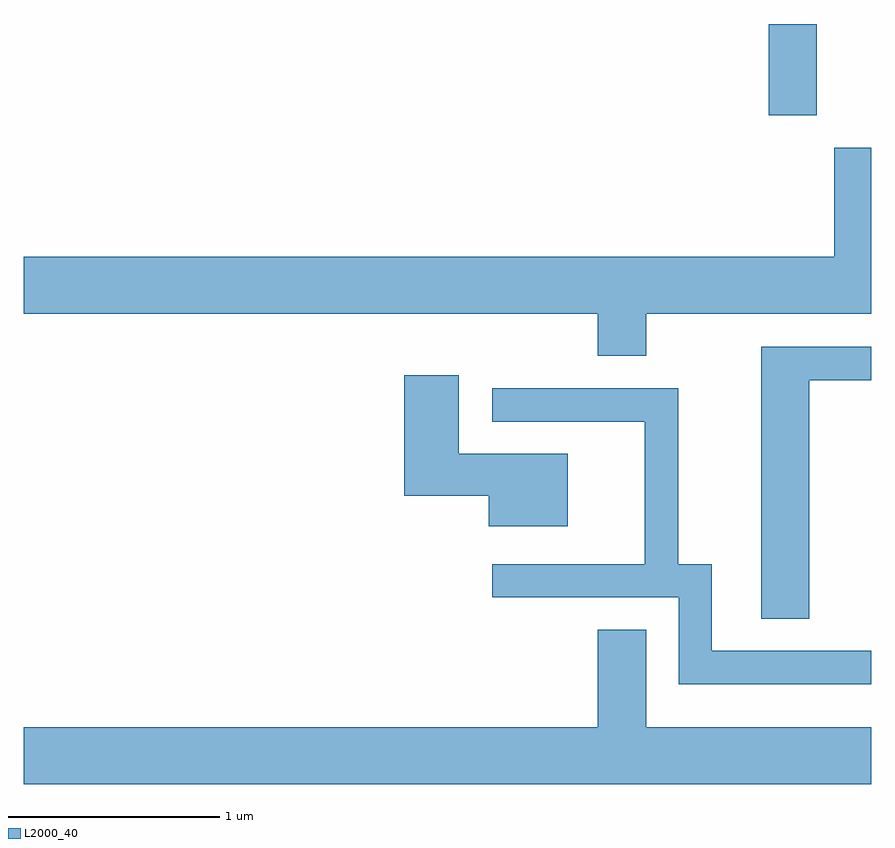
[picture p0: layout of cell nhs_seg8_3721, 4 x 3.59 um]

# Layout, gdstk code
import gdstk
lib = gdstk.Library(unit=1e-6, precision=1e-09)
def R(c, l, rs):  # rectangles x0, y0, x1, y1
    for r in rs: c.add(gdstk.rectangle(r[:2], r[2:], *l))
def P(c, l, *ps):  # polygons
    for p in ps: c.add(gdstk.Polygon(p, *l))
L2000_40 = (2000, 40)

nhs_seg8_3721 = lib.new_cell('nhs_seg8_3721')
R(nhs_seg8_3721, L2000_40, [(299.126,1943.911,299.354,1944.342)])
P(nhs_seg8_3721, L2000_40, [(298.549,1942.976),(299.611,1942.976),(299.611,1943.759),(299.436,1943.759),(299.436,1943.244),(295.611,1943.244),(295.611,1942.976),(298.321,1942.976),(298.321,1942.776),(298.549,1942.776)],
  [(299.319,1942.661),(299.611,1942.661),(299.611,1942.819),(299.091,1942.819),(299.091,1941.536),(299.319,1941.536)],
  [(298.179,1942.314),(297.664,1942.314),(297.664,1942.684),(297.406,1942.684),(297.406,1942.116),(297.806,1942.116),(297.806,1941.971),(298.179,1941.971)],
  [(299.611,1941.384),(298.859,1941.384),(298.859,1941.794),(298.699,1941.794),(298.699,1942.624),(297.823,1942.624),(297.823,1942.466),(298.541,1942.466),(298.541,1941.794),(297.823,1941.794),(297.823,1941.636),(298.701,1941.636),(298.701,1941.226),(299.611,1941.226)],
  [(299.611,1941.024),(298.549,1941.024),(298.549,1941.484),(298.321,1941.484),(298.321,1941.024),(295.611,1941.024),(295.611,1940.756),(299.611,1940.756)])

lib.write_gds('nhs_seg8_3721.gds')
